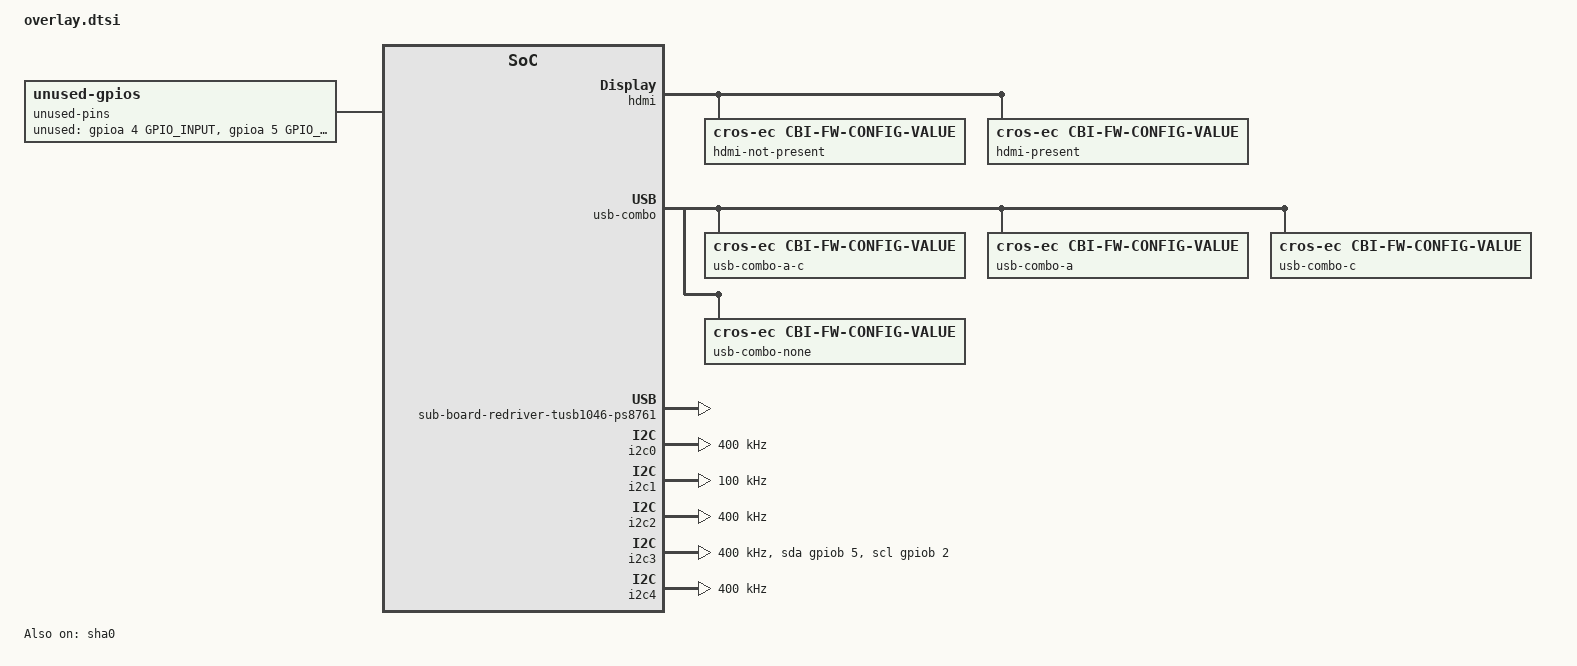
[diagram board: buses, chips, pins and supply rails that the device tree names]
/* Copyright 2023 The ChromiumOS Authors
 * Use of this source code is governed by a BSD-style license that can be
 * found in the LICENSE file.
 *
 */

/ {
	aliases {
		gpio-cbi-wp = &gpio_ec_cbi_wp;
		gpio-wp = &gpio_ec_flash_wp_odl;
		gpio-kbd-kso2 = &gpio_ec_kso_02_inv;
	};

	rauru-fw-config {
		compatible = "cros-ec,cbi-fw-config";

		hdmi {
			enum-name = "FW_HDMI";
			start = <13>;
			size = <1>;
			hdmi-not-present {
				compatible = "cros-ec,cbi-fw-config-value";
				enum-name = "FW_HDMI_NOT_PRESENT";
				value = <0>;
			};
			hdmi-present {
				compatible = "cros-ec,cbi-fw-config-value";
				enum-name = "FW_HDMI_PRESENT";
				value = <1>;
				default;
			};
		};
		fingerprint {
			enum-name = "FW_FINGERPRINT";
			start = <14>;
			size = <2>;

			fp-disabled {
				compatible = "cros-ec,cbi-fw-config-value";
				enum-name = "FW_FP_DISABLED";
				value = <0>;
				default;
			};
			fp-helipilot {
				compatible = "cros-ec,cbi-fw-config-value";
				enum-name = "FW_FP_HELIPILOT";
				value = <1>;
			};
		};
		form-factor {
			enum-name = "FW_FORM_FACTOR";
			start = <16>;
			size = <2>;
			clamshell {
				compatible = "cros-ec,cbi-fw-config-value";
				enum-name = "FW_FORM_FACTOR_CLAMSHELL";
				value = <0>;
			};
			convertible {
				compatible = "cros-ec,cbi-fw-config-value";
				enum-name = "FW_FORM_FACTOR_CONVERTIBLE";
				value = <1>;
			};
			detchable {
				compatible = "cros-ec,cbi-fw-config-value";
				enum-name = "FW_FORM_FACTOR_DETACHABLE";
				value = <2>;
				default;
			};
			chromebox {
				compatible = "cros-ec,cbi-fw-config-value";
				enum-name = "FW_FORM_FACTOR_CHROMEBOX";
				value = <3>;
			};
		};
		panel {
			enum-name = "FW_PANEL";
			start = <18>;
			size = <5>;
			default-panel {
				compatible = "cros-ec,cbi-fw-config-value";
				enum-name = "FW_PANEL_DEFAULT";
				value = <0>;
				default;
			};
			old {
				compatible = "cros-ec,cbi-fw-config-value";
				enum-name = "FW_PANEL_OLD";
				value = <1>;
			};
		};
		fan {
			enum-name = "FW_FAN";
			start = <23>;
			size = <1>;

			no-fan {
				compatible = "cros-ec,cbi-fw-config-value";
				enum-name = "FW_FAN_NOT_PRESENT";
				value = <0>;
			};
			fan-present {
				compatible = "cros-ec,cbi-fw-config-value";
				enum-name = "FW_FAN_PRESENT";
				value = <1>;
				/*
				 * Set as default so that unprovisioned
				 * configs will run the fan regardless.
				 */
				default;
			};
		};
		usb-combo {
			enum-name = "FW_USB_COMBO";
			start = <24>;
			size = <2>;

			usb-combo-a-c {
				compatible = "cros-ec,cbi-fw-config-value";
				enum-name = "FW_USB_A_C";
				value = <0>;
			};

			usb-combo-a {
				compatible = "cros-ec,cbi-fw-config-value";
				enum-name = "FW_USB_A";
				value = <1>;
				default;
			};
			usb-combo-c {
				compatible = "cros-ec,cbi-fw-config-value";
				enum-name = "FW_USB_C";
				value = <2>;
			};
			usb-combo-none {
				compatible = "cros-ec,cbi-fw-config-value";
				enum-name = "FW_USB_NONE";
				value = <3>;
			};
		};
		sub-board {
			enum-name = "FW_SUB_BOARD";
			start = <26>;
			size = <2>;

			sub-board-none {
				compatible = "cros-ec,cbi-fw-config-value";
				enum-name = "FW_SB_NONE";
				value = <0>;
			};

			sub-board-redriver-tusb1046-ps8761 {
				compatible = "cros-ec,cbi-fw-config-value";
				enum-name = "FW_SB_REDRIVER";
				value = <1>;
				default;
			};
			sub-board-retimer-anx3443-ps8811 {
				compatible = "cros-ec,cbi-fw-config-value";
				enum-name = "FW_SB_RETIMER";
				value = <2>;
			};
		};
		amp {
			enum-name = "FW_AMP";
			start = <28>;
			size = <2>;
		};
		storage {
			enum-name = "FW_STORAGE";
			start = <30>;
			size = <2>;
			ufs-40 {
				compatible = "cros-ec,cbi-fw-config-value";
				enum-name = "FW_STORAGE_UFS_40";
				value = <0>;
			};
			ufs-31 {
				compatible = "cros-ec,cbi-fw-config-value";
				enum-name = "FW_STORAGE_UFS_31";
				value = <1>;
			};
			ufs-40-hs-lss {
				compatible = "cros-ec,cbi-fw-config-value";
				enum-name = "FW_STORAGE_UFS_40_HS_LSS";
				value = <2>;
			};
			nvme {
				compatible = "cros-ec,cbi-fw-config-value";
				enum-name = "FW_STORAGE_NVME";
				value = <3>;
			};
		};
	};

	named-adc-channels {
		adc_ec_usb_c0_vbus_sense: ec_usb_c0_vbus_sense {
			mul = <10>;
		};
		adc_ec_usb_c1_vbus_sense: ec_usb_c1_vbus_sense {
			mul = <10>;
		};
	};

	named-i2c-ports {
		ec_i2c_usb_c0_scl_3v3 {
			i2c-port = <&i2c2ALT>;
			remote-port = <8>;
		};
		ec_smb_batt_scl_3v3 {
			remote-port = <7>;
		};

		/delete-node/ ec_i2c5;
	};

	named-gpios {
		/* unimplemented GPIOs */
		entering_rw: entering_rw {
			enum-name = "GPIO_ENTERING_RW";
		};
		/* default output level */
		gpio_ec_kso_02_inv: ec_kso_02_inv {
			gpios = <&gpioksol 2 GPIO_OUTPUT_HIGH>;
		};
		/* a label to prevent build break in power sequencing */
		en_pp4200_s5: en_pp3700_s5 {
			gpios = <&gpioh 5 (GPIO_OUTPUT_LOW)>;
		};
		/* Arbitrage doesn't support INPUT | ACTIVE_LOW gpios */
		als_int_ec_odl {
			gpios = <&gpiob 6 (GPIO_INPUT | GPIO_VOLTAGE_1P8 |
					   GPIO_ACTIVE_LOW)>;
		};
		ap_ec_sysrst_odl {
			gpios = <&gpioj 2 (GPIO_INPUT | GPIO_VOLTAGE_1P8 |
					   GPIO_ACTIVE_LOW)>;
		};
		ap_ec_wdtrst_l {
			gpios = <&gpioj 3 (GPIO_INPUT | GPIO_VOLTAGE_1P8 |
					   GPIO_ACTIVE_LOW)>;
		};
		ap_in_sleep_l {
			gpios = <&gpiom 2 (GPIO_INPUT | GPIO_VOLTAGE_1P8 |
					   GPIO_ACTIVE_LOW)>;
		};
		charger_prochot_odl {
			gpios = <&gpioc 0 (GPIO_INPUT | GPIO_ACTIVE_LOW)>;
		};
		pmic_ec_resetb {
			gpios = <&gpioj 1 (GPIO_INPUT | GPIO_VOLTAGE_1P8 |
					   GPIO_ACTIVE_LOW)>;
		};
		ec_flash_wp_odl {
			gpios = <&gpioc 4 (GPIO_INPUT | GPIO_ACTIVE_LOW)>;
		};
		gpio_ap_xhci_init_done_r: ap_xhci_init_done_r {
			gpios = <&gpioj 4 (GPIO_INPUT | GPIO_VOLTAGE_1P8)>;
		};
		/* Adapt generated nodelabel to the current nodelabel. */
		gpio_ec_pmic_en_odl: ec_pmic_en_odl_r {
		};
		gpio_ap_xhci_init_done: ap_xhci_init_done_r {
		};
	};

	hibernate-wake-pins {
		compatible = "cros-ec,hibernate-wake-pins";
		wakeup-irqs = <
			&int_ac_present
			&int_power_button
			&int_lid_open
		>;
	};

	unused-pins {
		compatible = "unused-gpios";

		unused-gpios =
			/* i2c5_scl */
			<&gpioa 4 GPIO_INPUT>,
			/* i2c5_sda */
			<&gpioa 5 GPIO_INPUT>;
	};
};

&pinctrl {
	/* I2C property setting */
	i2c0_clk_gpb3_default: i2c0_clk_gpb3_default {
		gpio-voltage = "3v3";
		drive-strength = "low";
	};
	i2c0_data_gpb4_default: i2c0_data_gpb4_default {
		gpio-voltage = "3v3";
		drive-strength = "low";
	};
	i2c1_clk_gpc1_default: i2c1_clk_gpc1_default {
		gpio-voltage = "3v3";
		drive-strength = "low";
	};
	i2c1_data_gpc2_default: i2c1_data_gpc2_default {
		gpio-voltage = "3v3";
		drive-strength = "low";
	};
	i2c2_clk_gpf6_default: i2c2_clk_gpf6_default {
		gpio-voltage = "3v3";
		drive-strength = "low";
	};
	i2c2_data_gpf7_default: i2c2_data_gpf7_default {
		gpio-voltage = "3v3";
		drive-strength = "low";
	};
	i2c3_clk_gpb2_default: i2c3_clk_gpb2_default {
		gpio-voltage = "1v8";
		drive-strength = "low";
	};
	i2c3_data_gpb5_default: i2c3_data_gpb5_default {
		gpio-voltage = "1v8";
		drive-strength = "low";
	};
	i2c3_clk_gpb2_sleep: i2c3_clk_gpb2_sleep {
		pinmuxs = <&pinctrlb 2 IT8XXX2_ALT_DEFAULT>;
		gpio-voltage = "1v8";
	};
	i2c3_data_gpb5_sleep: i2c3_data_gpb5_sleep {
		pinmuxs = <&pinctrlb 5 IT8XXX2_ALT_DEFAULT>;
		gpio-voltage = "1v8";
	};
	i2c4_clk_gpe0_default: i2c4_clk_gpe0_default {
		gpio-voltage = "3v3";
		drive-strength = "low";
	};
	i2c4_data_gpe7_default: i2c4_data_gpe7_default {
		gpio-voltage = "3v3";
		drive-strength = "low";
	};
	i2c5_clk_gpa4_default: i2c5_clk_gpa4_default {
		gpio-voltage = "3v3";
	};
	i2c5_data_gpa5_default: i2c5_data_gpa5_default {
		gpio-voltage = "3v3";
	};
};

&i2c0 {
	label = "I2C_PWR_CBI";
	prescale-scl-low = <8>;
	clock-frequency = <I2C_BITRATE_FAST>;
};

&i2c1 {
	label = "I2C_BATTERY";
	/* Only i2c1 uses 100kHz SMBus which needs data-hold-time */
	data-hold-time = <10>;
	prescale-scl-low = <8>;
	clock-frequency = <100000>;
};

&i2c2 {
	label = "I2C_USB_C0";
	prescale-scl-low = <8>;
	clock-frequency = <I2C_BITRATE_FAST>;
};

&i2c3 {
	label = "I2C_SENSOR";
	clock-frequency = <I2C_BITRATE_FAST>;
	scl-gpios = <&gpiob 2 0>;
	sda-gpios = <&gpiob 5 0>;
	pinctrl-1 = <&i2c3_clk_gpb2_sleep
			&i2c3_data_gpb5_sleep>;
	pinctrl-names = "default", "sleep";
	prescale-scl-low = <8>;
};

&i2c4 {
	label = "I2C_USB_C1";
	clock-frequency = <I2C_BITRATE_FAST>;
	prescale-scl-low = <8>;
};

&i2c5ALT {
	status = "disabled";
};

&pwm2 {
	prescaler-cx = <PWM_PRESCALER_C4>;
};

&pwm3 {
	prescaler-cx = <PWM_PRESCALER_C4>;
};

&sha0 {
	status = "okay";
};
